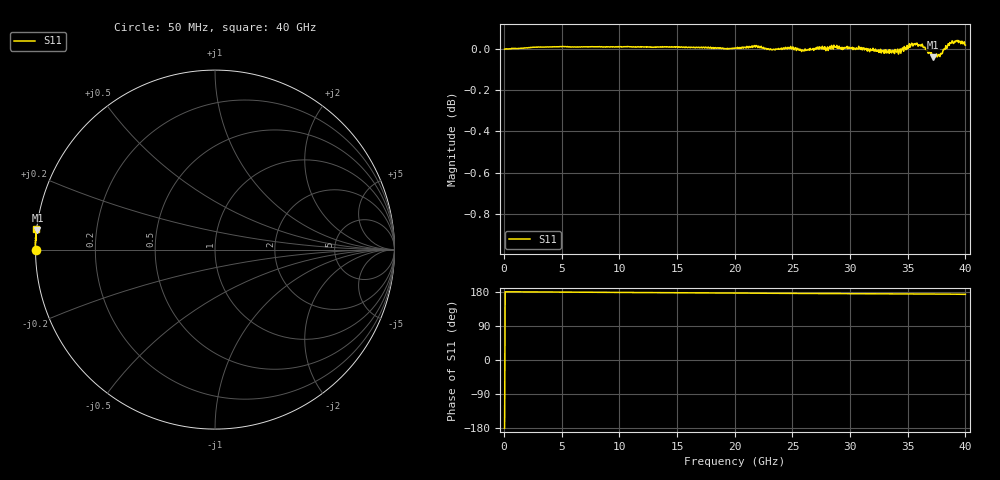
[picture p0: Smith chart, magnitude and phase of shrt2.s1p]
! Created Thu Feb 13 19:33:09 2025
# hz S ma R 50
! 1 Port Network Data from SP1.SP block
! freq  magS11  angS11
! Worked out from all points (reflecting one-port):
!   800 points, 50 MHz to 40 GHz, reference 50 ohm
!   lowest |S11| = 0.0 dB at 37.2 GHz (marker M1), VSWR 437.00, Z = 0.115 + j2.74 ohm
!   phase of S11 starts at -180 deg and turns -7 deg over the sweep
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5e7  1 -180.0
5.05e9  1.001 179.2
1.005e10  1.001 178.3
1.505e10  1.001 177.5
1.785e10  1.001 176.9
2.005e10  1.001 176.7
2.17e10  1.002 176.4
2.245e10  1.001 176.1
2.405e10  1.001 176.0
2.505e10  1.001 175.8
2.6e10  0.999 175.7
2.775e10  1 175.3
2.825e10  1.002 175.5
3.005e10  1 175.0
3.13e10  1 174.7
3.305e10  0.998 174.5
3.425e10  0.9987 174.4
3.505e10  1.001 174.3
3.555e10  1.003 174.2
3.615e10  1.002 173.9
3.665e10  0.9993 173.7
3.72e10  0.9954 173.7
3.775e10  0.9962 174.0
3.81e10  0.9999 174.0
3.87e10  1.003 173.8
3.905e10  1.004 173.6
3.96e10  1.003 173.4
4e10  1.002 173.3
